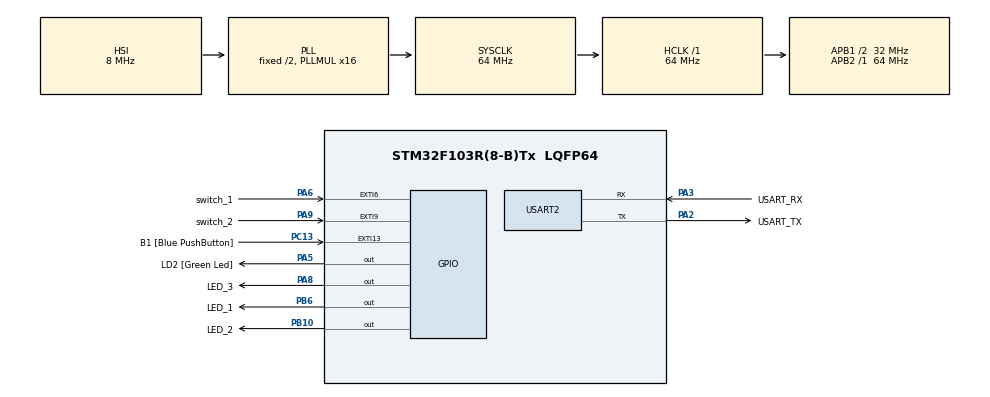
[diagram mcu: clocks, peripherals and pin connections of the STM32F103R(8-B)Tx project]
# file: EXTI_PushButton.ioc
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Mcu.Family=STM32F1
PA2.GPIO_PuPd=GPIO_NOPULL
PB10.PinState=GPIO_PIN_SET
PA14.GPIO_Label=TCK
PA3.GPIO_PuPd=GPIO_NOPULL
PA2.GPIO_Speed=GPIO_SPEED_FREQ_LOW
PA6.GPIO_Label=switch_1
PB6.GPIO_Label=LED_1
PA3.GPIO_Speed=GPIO_SPEED_FREQ_LOW
RCC.SYSCLKSource=RCC_SYSCLKSOURCE_PLLCLK
ProjectManager.StackSize=0x400
PD1-OSC_OUT.Signal=RCC_OSC_OUT
RCC.HCLKFreq_Value=64000000
RCC.APB2TimFreq_Value=64000000
PB6.Signal=GPIO_Output
RCC.AHBFreq_Value=64000000
NVIC.EXTI15_10_IRQn=true\:0\:0\:false\:false\:true\:true\:true
RCC.RTCClockSelection=RCC_RTCCLKSOURCE_LSE
RCC.PLLMUL=RCC_PLL_MUL16
PC14-OSC32_IN.Mode=LSE-External-Oscillator
PA14.Mode=Serial_Wire
PA5.GPIO_PuPd=GPIO_NOPULL
PA8.Signal=GPIO_Output
Mcu.Package=LQFP64
PA6.Signal=GPXTI6
USART2.VirtualMode=VM_ASYNC
PC13-TAMPER-RTC.GPIO_PuPd=GPIO_NOPULL
PA2.GPIO_Label=USART_TX
RCC.APB1TimFreq_Value=64000000
PA8.PinState=GPIO_PIN_SET
PB4.Signal=SYS_NJTRST
PA3.Signal=USART2_RX
PA2.GPIO_Mode=GPIO_MODE_AF_PP
PB3.GPIO_Label=SWO
PC15-OSC32_OUT.Mode=LSE-External-Oscillator
PA6.GPIO_ModeDefaultEXTI=GPIO_MODE_IT_RISING_FALLING
PD1-OSC_OUT.Mode=HSE-External-Clock-Source
PA9.GPIO_Label=switch_2
PC13-TAMPER-RTC.Signal=GPXTI13
PD0-OSC_IN.Signal=RCC_OSC_IN
RCC.APB1CLKDivider=RCC_HCLK_DIV2
PC14-OSC32_IN.Signal=RCC_OSC32_IN
PA3.Mode=Asynchronous
PA13.Signal=SYS_JTMS-SWDIO
PA8.GPIO_Label=LED_3
ProjectManager.TargetToolchain=TrueSTUDIO
PB10.GPIO_Label=LED_2
PA3.GPIO_Mode=GPIO_MODE_AF_PP
PA9.Signal=GPXTI9
RCC.USBFreq_Value=64000000
PC15-OSC32_OUT.Signal=RCC_OSC32_OUT
PD0-OSC_IN.Mode=HSE-External-Clock-Source
PB10.Signal=GPIO_Output
PA5.Signal=GPIO_Output
board=NUCLEO-F103RB
PC13-TAMPER-RTC.GPIO_Label=B1 [Blue PushButton]
RCC.APB2Freq_Value=64000000
PA5.GPIO_ModeDefaultOutputPP=GPIO_MODE_OUTPUT_PP
PA13.Mode=Serial_Wire
Mcu.Name=STM32F103R(8-B)Tx
PA13.GPIO_Label=TMS
PA2.Signal=USART2_TX
PB3.Signal=SYS_JTDO-TRACESWO
RCC.SYSCLKFreq_VALUE=64000000
PA5.GPIO_Label=LD2 [Green Led]
PB6.PinState=GPIO_PIN_SET
NVIC.EXTI9_5_IRQn=true\:0\:0\:false\:false\:true\:true\:true
PA14.Signal=SYS_JTCK-SWCLK
ProjectManager.HeapSize=0x200
PA5.GPIO_Speed=GPIO_SPEED_FREQ_LOW
NVIC.PriorityGroup=NVIC_PRIORITYGROUP_4
PA9.GPIO_ModeDefaultEXTI=GPIO_MODE_IT_RISING_FALLING
PA2.Mode=Asynchronous
RCC.APB1Freq_Value=32000000
PA3.GPIO_Label=USART_RX

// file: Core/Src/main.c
/* USER CODE BEGIN Header */
/**
  ******************************************************************************
  * @file           : main.c
  * @brief          : Main program body
  ******************************************************************************
  * @attention
  *
  * <h2><center>&copy; Copyright (c) 2021 STMicroelectronics.
  * All rights reserved.</center></h2>
  *
  * This software component is licensed by ST under BSD 3-Clause license,
  * the "License"; You may not use this file except in compliance with the
  * License. You may obtain a copy of the License at:
  *                        opensource.org/licenses/BSD-3-Clause
  *
  ******************************************************************************
  */
/* USER CODE END Header */
#include "main.h"

UART_HandleTypeDef huart2;

void SystemClock_Config(void);
static void MX_GPIO_Init(void);
static void MX_USART2_UART_Init(void);

int main(void)
{

  /* MCU Configuration--------------------------------------------------------*/

  /* Reset of all peripherals, Initializes the Flash interface and the Systick. */
  HAL_Init();

  /* Configure the system clock */
  SystemClock_Config();

  /* Initialize all configured peripherals */
  MX_GPIO_Init();
  MX_USART2_UART_Init();

  /* Infinite loop */
  /* USER CODE BEGIN WHILE */
  HAL_GPIO_WritePin(LED_1_GPIO_Port, LED_1_Pin, GPIO_PIN_RESET);
  HAL_GPIO_WritePin(LED_2_GPIO_Port, LED_2_Pin, GPIO_PIN_RESET);
  HAL_GPIO_WritePin(LED_3_GPIO_Port, LED_3_Pin, GPIO_PIN_RESET);
  while (1)
  {
    /* USER CODE END WHILE */

  }
}

void SystemClock_Config(void)
{
  RCC_OscInitTypeDef RCC_OscInitStruct = {0};
  RCC_ClkInitTypeDef RCC_ClkInitStruct = {0};

  /** Initializes the RCC Oscillators according to the specified parameters
  * in the RCC_OscInitTypeDef structure.
  */
  RCC_OscInitStruct.OscillatorType = RCC_OSCILLATORTYPE_HSI;
  RCC_OscInitStruct.HSIState = RCC_HSI_ON;
  RCC_OscInitStruct.HSICalibrationValue = RCC_HSICALIBRATION_DEFAULT;
  RCC_OscInitStruct.PLL.PLLState = RCC_PLL_ON;
  RCC_OscInitStruct.PLL.PLLSource = RCC_PLLSOURCE_HSI_DIV2;
  RCC_OscInitStruct.PLL.PLLMUL = RCC_PLL_MUL16;
  if (HAL_RCC_OscConfig(&RCC_OscInitStruct) != HAL_OK)
  {
    Error_Handler();
  }
  /** Initializes the CPU, AHB and APB buses clocks
  */
  RCC_ClkInitStruct.ClockType = RCC_CLOCKTYPE_HCLK|RCC_CLOCKTYPE_SYSCLK
                              |RCC_CLOCKTYPE_PCLK1|RCC_CLOCKTYPE_PCLK2;
  RCC_ClkInitStruct.SYSCLKSource = RCC_SYSCLKSOURCE_PLLCLK;
  RCC_ClkInitStruct.AHBCLKDivider = RCC_SYSCLK_DIV1;
  RCC_ClkInitStruct.APB1CLKDivider = RCC_HCLK_DIV2;
  RCC_ClkInitStruct.APB2CLKDivider = RCC_HCLK_DIV1;

  if (HAL_RCC_ClockConfig(&RCC_ClkInitStruct, FLASH_LATENCY_2) != HAL_OK)
  {
    Error_Handler();
  }
}

static void MX_USART2_UART_Init(void)
{

  huart2.Instance = USART2;
  huart2.Init.BaudRate = 115200;
  huart2.Init.WordLength = UART_WORDLENGTH_8B;
  huart2.Init.StopBits = UART_STOPBITS_1;
  huart2.Init.Parity = UART_PARITY_NONE;
  huart2.Init.Mode = UART_MODE_TX_RX;
  huart2.Init.HwFlowCtl = UART_HWCONTROL_NONE;
  huart2.Init.OverSampling = UART_OVERSAMPLING_16;
  if (HAL_UART_Init(&huart2) != HAL_OK)
  {
    Error_Handler();
  }

}

static void MX_GPIO_Init(void)
{
  GPIO_InitTypeDef GPIO_InitStruct = {0};

  /* GPIO Ports Clock Enable */
  __HAL_RCC_GPIOC_CLK_ENABLE();
  __HAL_RCC_GPIOD_CLK_ENABLE();
  __HAL_RCC_GPIOA_CLK_ENABLE();
  __HAL_RCC_GPIOB_CLK_ENABLE();

  /*Configure GPIO pin Output Level */
  HAL_GPIO_WritePin(LD2_GPIO_Port, LD2_Pin, GPIO_PIN_RESET);

  /*Configure GPIO pin Output Level */
  HAL_GPIO_WritePin(GPIOB, LED_2_Pin|LED_1_Pin, GPIO_PIN_SET);

  /*Configure GPIO pin Output Level */
  HAL_GPIO_WritePin(LED_3_GPIO_Port, LED_3_Pin, GPIO_PIN_SET);

  /*Configure GPIO pin : B1_Pin */
  GPIO_InitStruct.Pin = B1_Pin;
  GPIO_InitStruct.Mode = GPIO_MODE_IT_RISING;
  GPIO_InitStruct.Pull = GPIO_NOPULL;
  HAL_GPIO_Init(B1_GPIO_Port, &GPIO_InitStruct);

  /*Configure GPIO pins : LD2_Pin LED_3_Pin */
  GPIO_InitStruct.Pin = LD2_Pin|LED_3_Pin;
  GPIO_InitStruct.Mode = GPIO_MODE_OUTPUT_PP;
  GPIO_InitStruct.Pull = GPIO_NOPULL;
  GPIO_InitStruct.Speed = GPIO_SPEED_FREQ_LOW;
  HAL_GPIO_Init(GPIOA, &GPIO_InitStruct);

  /*Configure GPIO pins : switch_1_Pin switch_2_Pin */
  GPIO_InitStruct.Pin = switch_1_Pin|switch_2_Pin;
  GPIO_InitStruct.Mode = GPIO_MODE_IT_RISING_FALLING;
  GPIO_InitStruct.Pull = GPIO_NOPULL;
  HAL_GPIO_Init(GPIOA, &GPIO_InitStruct);

  /*Configure GPIO pins : LED_2_Pin LED_1_Pin */
  GPIO_InitStruct.Pin = LED_2_Pin|LED_1_Pin;
  GPIO_InitStruct.Mode = GPIO_MODE_OUTPUT_PP;
  GPIO_InitStruct.Pull = GPIO_NOPULL;
  GPIO_InitStruct.Speed = GPIO_SPEED_FREQ_LOW;
  HAL_GPIO_Init(GPIOB, &GPIO_InitStruct);

  /* EXTI interrupt init*/
  HAL_NVIC_SetPriority(EXTI9_5_IRQn, 0, 0);
  HAL_NVIC_EnableIRQ(EXTI9_5_IRQn);

  HAL_NVIC_SetPriority(EXTI15_10_IRQn, 0, 0);
  HAL_NVIC_EnableIRQ(EXTI15_10_IRQn);

}

/* USER CODE BEGIN 4 */
void
HAL_GPIO_EXTI_Callback(uint16_t GPIO_Pin){
	HAL_GPIO_WritePin(LED_3_GPIO_Port, LED_3_Pin, 1);
	switch(GPIO_Pin){
		case GPIO_PIN_6:
			if(HAL_GPIO_ReadPin(switch_1_GPIO_Port, switch_1_Pin))
				HAL_GPIO_WritePin(LED_1_GPIO_Port, LED_1_Pin,1);
			else HAL_GPIO_WritePin(LED_1_GPIO_Port, LED_1_Pin,0);
			break;
		case GPIO_PIN_9:
			if(HAL_GPIO_ReadPin(switch_2_GPIO_Port, switch_2_Pin))
				HAL_GPIO_WritePin(LED_2_GPIO_Port, LED_2_Pin,1);
			else HAL_GPIO_WritePin(LED_2_GPIO_Port, LED_2_Pin,0);
			break;
		default:
			;
	}
}
/* USER CODE END 4 */

void Error_Handler(void)
{
  __disable_irq();
  while (1)
  {
  }
}

/************************ (C) COPYRIGHT STMicroelectronics *****END OF FILE****/
